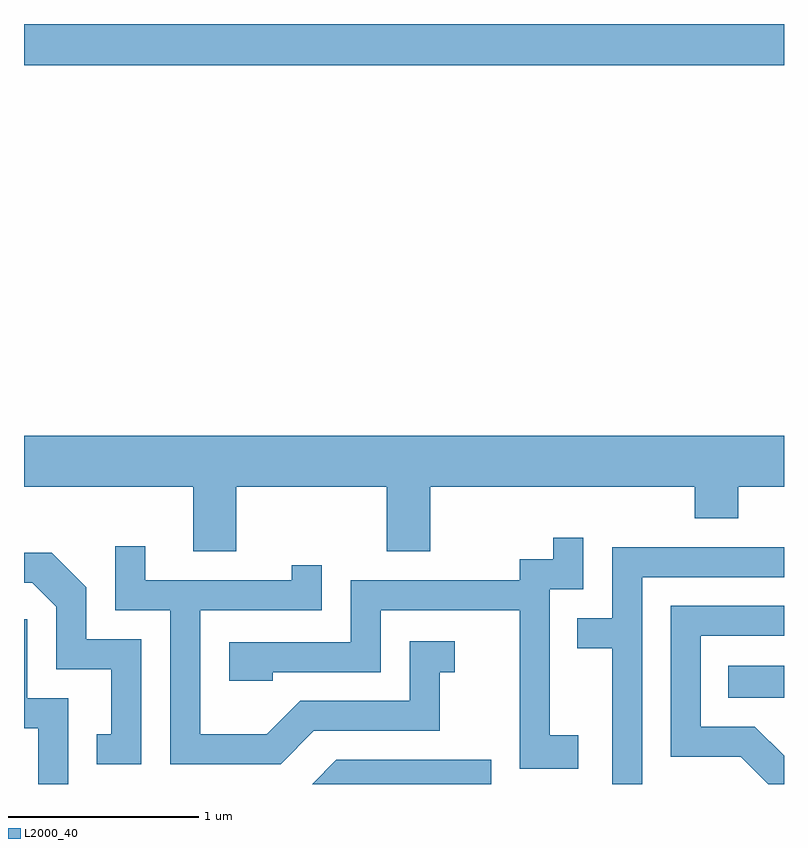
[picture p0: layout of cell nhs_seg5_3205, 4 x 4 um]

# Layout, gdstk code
import gdstk
lib = gdstk.Library(unit=1e-6, precision=1e-09)
def R(c, l, rs):  # rectangles x0, y0, x1, y1
    for r in rs: c.add(gdstk.rectangle(r[:2], r[2:], *l))
def P(c, l, *ps):  # polygons
    for p in ps: c.add(gdstk.Polygon(p, *l))
L2000_40 = (2000, 40)

nhs_seg5_3205 = lib.new_cell('nhs_seg5_3205')
R(nhs_seg5_3205, L2000_40, [(283.318,1504.526,283.611,1504.694), (279.611,1507.856,283.611,1508.072)])
P(nhs_seg5_3205, L2000_40, [(280.729,1505.636),(281.521,1505.636),(281.521,1505.296),(281.749,1505.296),(281.749,1505.636),(283.141,1505.636),(283.141,1505.471),(283.369,1505.471),(283.369,1505.636),(283.611,1505.636),(283.611,1505.904),(279.611,1505.904),(279.611,1505.636),(280.501,1505.636),(280.501,1505.296),(280.729,1505.296)],
  [(282.529,1504.329),(282.379,1504.329),(282.379,1505.096),(282.554,1505.096),(282.554,1505.368),(282.396,1505.368),(282.396,1505.254),(282.221,1505.254),(282.221,1505.144),(281.331,1505.144),(281.331,1504.819),(280.691,1504.819),(280.691,1504.616),(280.919,1504.616),(280.919,1504.661),(281.489,1504.661),(281.489,1504.986),(282.221,1504.986),(282.221,1504.151),(282.529,1504.151)],
  [(281.137,1504.351),(281.799,1504.351),(281.799,1504.661),(281.878,1504.661),(281.878,1504.824),(281.641,1504.824),(281.641,1504.509),(281.064,1504.509),(280.889,1504.334),(280.539,1504.334),(280.539,1504.986),(281.179,1504.986),(281.179,1505.223),(281.021,1505.223),(281.021,1505.144),(280.249,1505.144),(280.249,1505.323),(280.091,1505.323),(280.091,1504.986),(280.381,1504.986),(280.381,1504.176),(280.962,1504.176)],
  [(282.864,1505.161),(283.611,1505.161),(283.611,1505.319),(282.706,1505.319),(282.706,1504.944),(282.523,1504.944),(282.523,1504.786),(282.706,1504.786),(282.706,1504.072),(282.864,1504.072)],
  [(280.229,1504.834),(279.939,1504.834),(279.939,1505.107),(279.757,1505.289),(279.611,1505.289),(279.611,1505.131),(279.654,1505.131),(279.781,1505.004),(279.781,1504.676),(280.071,1504.676),(280.071,1504.334),(279.993,1504.334),(279.993,1504.176),(280.229,1504.176)],
  [(283.611,1504.22),(283.457,1504.374),(283.174,1504.374),(283.174,1504.851),(283.611,1504.851),(283.611,1505.009),(283.016,1505.009),(283.016,1504.216),(283.384,1504.216),(283.528,1504.072),(283.611,1504.072)],
  [(279.844,1504.524),(279.629,1504.524),(279.629,1504.939),(279.611,1504.939),(279.611,1504.366),(279.686,1504.366),(279.686,1504.072),(279.844,1504.072)],
  [(282.069,1504.199),(281.254,1504.199),(281.127,1504.072),(282.069,1504.072)])

lib.write_gds('nhs_seg5_3205.gds')
